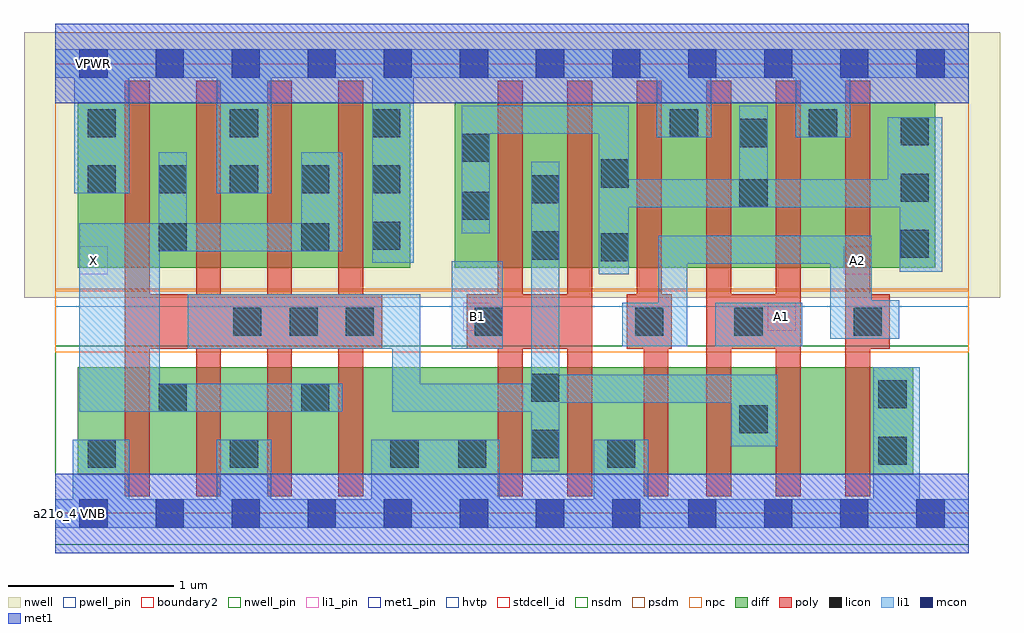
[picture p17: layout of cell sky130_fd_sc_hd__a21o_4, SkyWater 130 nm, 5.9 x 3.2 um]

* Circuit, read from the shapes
.subckt sky130_fd_sc_hd__a21o_4 A1 A2 B1 VGND VNB VPB VPWR X
XM1 X n1 VGND VNB sky130_fd_pr__nfet_01v8 w=0.65 l=0.15 m=4
XM2 n1 B1 VGND VNB sky130_fd_pr__nfet_01v8 w=0.65 l=0.15 m=2
XM3 n2 A2 VGND VNB sky130_fd_pr__nfet_01v8 w=0.65 l=0.15
XM4 n1 A1 n2 VNB sky130_fd_pr__nfet_01v8 w=0.65 l=0.15
XM5 n3 A1 n1 VNB sky130_fd_pr__nfet_01v8 w=0.65 l=0.15
XM6 VGND A2 n3 VNB sky130_fd_pr__nfet_01v8 w=0.65 l=0.15
XM7 X n1 VPWR VPB sky130_fd_pr__pfet_01v8_hvt w=1 l=0.15 m=4
XM8 n1 B1 n4 VPB sky130_fd_pr__pfet_01v8_hvt w=1 l=0.15 m=2
XM9 VPWR A2 n4 VPB sky130_fd_pr__pfet_01v8_hvt w=1 l=0.15 m=2
XM10 n4 A1 VPWR VPB sky130_fd_pr__pfet_01v8_hvt w=1 l=0.15 m=2
.ends

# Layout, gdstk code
import gdstk
lib = gdstk.Library(unit=1e-6, precision=1e-09)
def R(c, l, rs):  # rectangles x0, y0, x1, y1
    for r in rs: c.add(gdstk.rectangle(r[:2], r[2:], *l))
def A(c, l, x, y, w, h, nx, ny, dx, dy):  # array of equal rectangles
    R(c, l, [(x+i*dx, y+j*dy, x+i*dx+w, y+j*dy+h) for i in range(nx) for j in range(ny)])
def P(c, l, *ps):  # polygons
    for p in ps: c.add(gdstk.Polygon(p, *l))
nwell_pin = (64, 16)
nwell = (64, 20)
diff = (65, 20)
poly = (66, 20)
licon = (66, 44)
li1_pin = (67, 16)
li1 = (67, 20)
mcon = (67, 44)
met1_pin = (68, 16)
met1 = (68, 20)
hvtp = (78, 44)
stdcell_id = (81, 4)
nsdm = (93, 44)
psdm = (94, 20)
npc = (95, 20)
pwell_pin = (122, 16)
boundary2 = (236, 0)

sky130_fd_sc_hd__a21o_4 = lib.new_cell('sky130_fd_sc_hd__a21o_4')
R(sky130_fd_sc_hd__a21o_4, nwell_pin, [(0.145,2.635,0.315,2.805)])
R(sky130_fd_sc_hd__a21o_4, nwell, [(-0.19,1.305,5.71,2.91)])
R(sky130_fd_sc_hd__a21o_4, diff, [(0.135,0.235,5.185,0.885), (0.135,1.485,2.145,2.485), (2.415,1.485,5.32,2.485)])
P(sky130_fd_sc_hd__a21o_4, poly, [(5.045,1.325),(4.925,1.325),(4.925,2.615),(4.775,2.615),(4.775,0.105),(4.925,0.105),(4.925,0.995),(5.045,0.995)],
  [(4.505,2.615),(4.355,2.615),(4.355,1.325),(4.085,1.325),(4.085,2.615),(3.935,2.615),(3.935,0.105),(4.085,0.105),(4.085,0.995),(4.355,0.995),(4.355,0.105),(4.505,0.105)],
  [(3.725,1.325),(3.665,1.325),(3.665,2.615),(3.515,2.615),(3.515,1.325),(3.455,1.325),(3.455,0.995),(3.555,0.995),(3.555,0.105),(3.705,0.105),(3.705,0.995),(3.725,0.995)],
  [(3.245,2.615),(3.095,2.615),(3.095,1.325),(2.825,1.325),(2.825,2.615),(2.675,2.615),(2.675,1.325),(2.485,1.325),(2.485,0.995),(2.675,0.995),(2.675,0.105),(2.825,0.105),(2.825,0.995),(3.095,0.995),(3.095,0.105),(3.245,0.105)],
  [(1.975,1.325),(1.86,1.325),(1.86,2.615),(1.71,2.615),(1.71,1.325),(1.43,1.325),(1.43,2.615),(1.28,2.615),(1.28,1.325),(1,1.325),(1,2.615),(0.85,2.615),(0.85,1.325),(0.57,1.325),(0.57,2.615),(0.42,2.615),(0.42,0.105),(0.57,0.105),(0.57,0.995),(0.85,0.995),(0.85,0.105),(1,0.105),(1,0.995),(1.28,0.995),(1.28,0.105),(1.43,0.105),(1.43,0.995),(1.71,0.995),(1.71,0.105),(1.86,0.105),(1.86,0.995),(1.975,0.995)])
A(sky130_fd_sc_hd__a21o_4, licon, 1.075, 1.075, 0.17, 0.17, 3, 1, 0.34, 0)
A(sky130_fd_sc_hd__a21o_4, licon, 5.11, 1.545, 0.17, 0.17, 1, 3, 0, 0.34)
A(sky130_fd_sc_hd__a21o_4, licon, 0.195, 1.935, 0.17, 0.17, 5, 1, 0.43, 0)
A(sky130_fd_sc_hd__a21o_4, licon, 0.195, 2.275, 0.17, 0.17, 3, 1, 0.86, 0)
R(sky130_fd_sc_hd__a21o_4, licon, [(0.195,0.275,0.365,0.445), (1.055,0.275,1.225,0.445), (2.025,0.275,2.195,0.445), (2.435,0.275,2.605,0.445), (3.335,0.275,3.505,0.445), (4.975,0.295,5.145,0.465), (2.875,0.335,3.045,0.505), (4.135,0.485,4.305,0.655), (0.625,0.615,0.795,0.785), (1.485,0.615,1.655,0.785), (4.975,0.635,5.145,0.805), (2.875,0.675,3.045,0.845), (2.535,1.075,2.705,1.245), (3.505,1.075,3.675,1.245), (4.105,1.075,4.275,1.245), (4.825,1.075,4.995,1.245), (3.295,1.525,3.465,1.695), (2.875,1.535,3.045,1.705), (0.625,1.585,0.795,1.755), (1.485,1.585,1.655,1.755), (1.915,1.595,2.085,1.765), (2.455,1.775,2.625,1.945), (4.135,1.85,4.305,2.02), (2.875,1.875,3.045,2.045), (3.295,1.97,3.465,2.14), (2.455,2.125,2.625,2.295), (4.135,2.215,4.305,2.385), (3.715,2.275,3.885,2.445), (4.555,2.275,4.725,2.445)])
R(sky130_fd_sc_hd__a21o_4, li1_pin, [(2.465,1.105,2.635,1.275), (4.305,1.105,4.475,1.275), (0.145,1.445,0.315,1.615), (4.765,1.445,4.935,1.615)])
R(sky130_fd_sc_hd__a21o_4, li1, [(2.395,0.995,2.705,1.525), (3.99,1.01,4.515,1.275), (4.135,1.915,4.305,2.465)])
P(sky130_fd_sc_hd__a21o_4, li1, [(5.36,2.395),(5.03,2.395),(5.03,2.02),(3.465,2.02),(3.465,2.465),(2.455,2.465),(2.455,1.695),(2.625,1.695),(2.625,2.295),(3.285,2.295),(3.285,1.445),(3.465,1.445),(3.465,1.85),(5.105,1.85),(5.105,1.46),(5.36,1.46)],
  [(5.1,1.29),(4.935,1.29),(4.935,1.68),(3.645,1.68),(3.645,1.275),(3.425,1.275),(3.425,1.01),(3.82,1.01),(3.82,1.51),(4.685,1.51),(4.685,1.055),(5.1,1.055)],
  [(4.365,0.84),(3.045,0.84),(3.045,2.125),(2.875,2.125),(2.875,0.785),(2.205,0.785),(2.205,1.325),(0.8,1.325),(0.8,0.995),(2.035,0.995),(2.035,0.615),(2.875,0.615),(2.875,0.255),(3.045,0.255),(3.045,0.67),(4.085,0.67),(4.085,0.405),(4.365,0.405)],
  [(1.735,0.785),(0.63,0.785),(0.63,1.585),(1.735,1.585),(1.735,2.185),(1.485,2.185),(1.485,1.755),(0.795,1.755),(0.795,2.185),(0.625,2.185),(0.625,1.755),(0.145,1.755),(0.145,0.615),(1.735,0.615)],
  [(5.52,2.805),(0,2.805),(0,2.635),(0.115,2.635),(0.115,1.935),(0.445,1.935),(0.445,2.635),(0.975,2.635),(0.975,1.935),(1.305,1.935),(1.305,2.635),(1.915,2.635),(1.915,1.515),(2.165,1.515),(2.165,2.635),(3.635,2.635),(3.635,2.275),(3.965,2.275),(3.965,2.635),(4.475,2.635),(4.475,2.275),(4.805,2.275),(4.805,2.635),(5.52,2.635)],
  [(5.52,0.085),(5.225,0.085),(5.225,0.885),(4.945,0.885),(4.945,0.085),(3.585,0.085),(3.585,0.445),(3.255,0.445),(3.255,0.085),(2.685,0.085),(2.685,0.445),(1.91,0.445),(1.91,0.085),(1.305,0.085),(1.305,0.445),(0.975,0.445),(0.975,0.085),(0.445,0.085),(0.445,0.445),(0.105,0.445),(0.105,0.085),(0,0.085),(0,-0.085),(5.52,-0.085)])
A(sky130_fd_sc_hd__a21o_4, mcon, 0.145, -0.085, 0.17, 0.17, 12, 2, 0.46, 2.72)
R(sky130_fd_sc_hd__a21o_4, met1_pin, [(0.145,-0.085,0.315,0.085), (0.145,2.635,0.315,2.805)])
R(sky130_fd_sc_hd__a21o_4, hvtp, [(0,1.25,5.52,2.72)])
R(sky130_fd_sc_hd__a21o_4, stdcell_id, [(0,0,5.52,2.72)])
R(sky130_fd_sc_hd__a21o_4, nsdm, [(0,-0.19,5.52,1.015)])
R(sky130_fd_sc_hd__a21o_4, psdm, [(0,1.355,5.52,2.91)])
R(sky130_fd_sc_hd__a21o_4, npc, [(0,0.975,5.52,1.345)])
R(sky130_fd_sc_hd__a21o_4, pwell_pin, [(0.145,-0.085,0.315,0.085)])
R(sky130_fd_sc_hd__a21o_4, boundary2, [(0,0,5.52,2.72)])
sky130_fd_sc_hd__a21o_4.add(gdstk.FlexPath([(0,0),(5.52,0)], 0.48, ends="flush", simple_path=True, layer=68, datatype=20))  # met1
sky130_fd_sc_hd__a21o_4.add(gdstk.FlexPath([(0,2.72),(5.52,2.72)], 0.48, ends="flush", simple_path=True, layer=68, datatype=20))  # met1
sky130_fd_sc_hd__a21o_4.add(gdstk.Label('a21o_4', (0,0), layer=83, texttype=44))
sky130_fd_sc_hd__a21o_4.add(gdstk.Label('VPWR', (0.23,2.72), layer=68, texttype=5))
sky130_fd_sc_hd__a21o_4.add(gdstk.Label('VGND', (0.23,0), layer=68, texttype=5))
sky130_fd_sc_hd__a21o_4.add(gdstk.Label('VPB', (0.23,2.72), layer=64, texttype=5))
sky130_fd_sc_hd__a21o_4.add(gdstk.Label('VNB', (0.23,0), layer=64, texttype=59))
sky130_fd_sc_hd__a21o_4.add(gdstk.Label('B1', (2.55,1.19), layer=67, texttype=5))
sky130_fd_sc_hd__a21o_4.add(gdstk.Label('X', (0.23,1.53), layer=67, texttype=5))
sky130_fd_sc_hd__a21o_4.add(gdstk.Label('A1', (4.39,1.19), layer=67, texttype=5))
sky130_fd_sc_hd__a21o_4.add(gdstk.Label('A2', (4.85,1.53), layer=67, texttype=5))

lib.write_gds('sky130_fd_sc_hd__a21o_4.gds')
